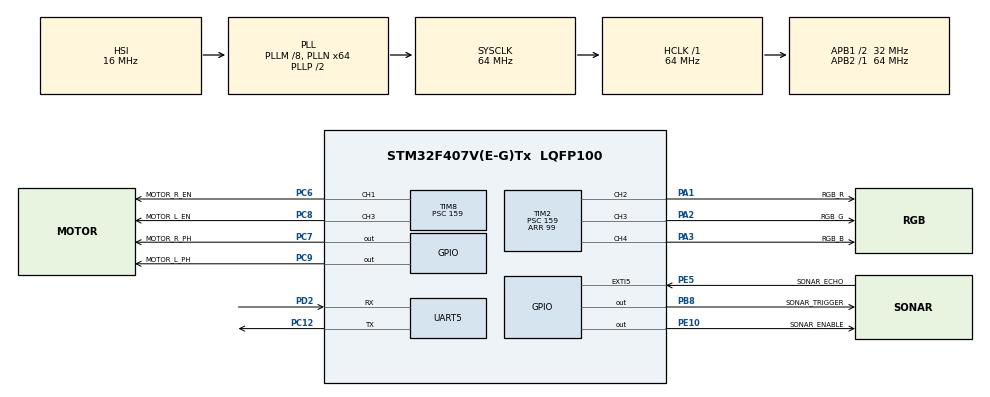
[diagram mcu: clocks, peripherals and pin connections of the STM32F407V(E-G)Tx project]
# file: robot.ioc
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ADC1.Channel-0\#ChannelRegularConversion=ADC_CHANNEL_TEMPSENSOR
ADC1.ClockPrescaler=ADC_CLOCK_SYNC_PCLK_DIV4
ADC1.NbrOfConversionFlag=1
ADC1.Rank-0\#ChannelRegularConversion=1
ADC1.SamplingTime-0\#ChannelRegularConversion=ADC_SAMPLETIME_144CYCLES
ADC1.master=1
Mcu.Family=STM32F4
Mcu.Name=STM32F407V(E-G)Tx
Mcu.Package=LQFP100
NVIC.EXTI9_5_IRQn=true\:0\:0\:false\:false\:true\:true\:true\:true
NVIC.PriorityGroup=NVIC_PRIORITYGROUP_4
NVIC.TIM2_IRQn=true\:1\:0\:true\:false\:true\:true\:true\:true
NVIC.TIM7_IRQn=true\:10\:0\:true\:false\:true\:true\:true\:true
PA1.GPIO_Label=RGB_R
PA1.Signal=S_TIM2_CH2
PA2.GPIO_Label=RGB_G
PA2.Signal=S_TIM2_CH3
PA3.GPIO_Label=RGB_B
PA3.Signal=S_TIM2_CH4
PB8.GPIO_Label=SONAR_TRIGGER
PB8.Signal=GPIO_Output
PC12.Mode=Asynchronous
PC12.Signal=UART5_TX
PC6.GPIO_Label=MOTOR_R_EN
PC6.Signal=S_TIM8_CH1
PC7.GPIO_Label=MOTOR_R_PH
PC7.Signal=GPIO_Output
PC8.GPIO_Label=MOTOR_L_EN
PC8.Signal=S_TIM8_CH3
PC9.GPIO_Label=MOTOR_L_PH
PC9.Signal=GPIO_Output
PD2.Mode=Asynchronous
PD2.Signal=UART5_RX
PE10.GPIO_Label=SONAR_ENABLE
PE10.Signal=GPIO_Output
PE5.GPIO_Label=SONAR_ECHO
PE5.GPIO_ModeDefaultEXTI=GPIO_MODE_IT_RISING_FALLING
PE5.Signal=GPXTI5
ProjectManager.HeapSize=0x200
ProjectManager.StackSize=0x400
ProjectManager.TargetToolchain=STM32CubeIDE
RCC.48MHZClocksFreq_Value=32000000
RCC.AHBFreq_Value=64000000
RCC.APB1CLKDivider=RCC_HCLK_DIV2
RCC.APB1Freq_Value=32000000
RCC.APB1TimFreq_Value=64000000
RCC.APB2Freq_Value=64000000
RCC.APB2TimFreq_Value=64000000
RCC.CortexFreq_Value=64000000
RCC.HCLKFreq_Value=64000000
RCC.HSE_VALUE=25000000
RCC.HSI_VALUE=16000000
RCC.LSE_VALUE=32768
RCC.PLLM=8
RCC.PLLN=64
RCC.SYSCLKFreq_VALUE=64000000
RCC.SYSCLKSource=RCC_SYSCLKSOURCE_PLLCLK
RCC.VCOOutputFreq_Value=128000000
SH.S_TIM2_CH2.0=TIM2_CH2,PWM Generation2 CH2
SH.S_TIM2_CH3.0=TIM2_CH3,PWM Generation3 CH3
SH.S_TIM2_CH4.0=TIM2_CH4,PWM Generation4 CH4
SH.S_TIM8_CH1.0=TIM8_CH1,PWM Generation1 CH1
SH.S_TIM8_CH3.0=TIM8_CH3,PWM Generation3 CH3
TIM1.Channel-Output\ Compare1\ No\ Output=TIM_CHANNEL_1
TIM1.Prescaler=63
TIM2.Channel-Output\ Compare1\ No\ Output=TIM_CHANNEL_1
TIM2.Channel-PWM\ Generation2\ CH2=TIM_CHANNEL_2
TIM2.Channel-PWM\ Generation3\ CH3=TIM_CHANNEL_3
TIM2.Channel-PWM\ Generation4\ CH4=TIM_CHANNEL_4
TIM2.Period=99
TIM2.Prescaler=159
TIM2.Pulse-Output\ Compare1\ No\ Output=9
TIM5.Channel-Output\ Compare1\ No\ Output=TIM_CHANNEL_1
TIM5.Period=999999
TIM5.Prescaler=63
TIM7.Period=1999
TIM7.Prescaler=141
TIM8.AutoReloadPreload=TIM_AUTORELOAD_PRELOAD_ENABLE
TIM8.Channel-PWM\ Generation1\ CH1=TIM_CHANNEL_1
TIM8.Channel-PWM\ Generation3\ CH3=TIM_CHANNEL_3
TIM8.Period=99
TIM8.Prescaler=159
UART5.VirtualMode=Asynchronous
VP_ADC1_TempSens_Input.Mode=IN-TempSens
VP_TIM1_VS_no_output1.Mode=Output Compare1 No Output
VP_TIM2_VS_ClockSourceINT.Mode=Internal
VP_TIM2_VS_no_output1.Mode=Output Compare1 No Output
VP_TIM5_VS_ClockSourceINT.Mode=Internal
VP_TIM5_VS_no_output1.Mode=Output Compare1 No Output
VP_TIM7_VS_ClockSourceINT.Mode=Enable_Timer
VP_TIM8_VS_ClockSourceINT.Mode=Internal
board=custom

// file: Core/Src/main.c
/* USER CODE BEGIN Header */
/**
 ******************************************************************************
 * @file           : main.c
 * @brief          : Main program body
 ******************************************************************************
 * @attention
 *
 * Copyright (c) 2024 STMicroelectronics.
 * All rights reserved.
 *
 * This software is licensed under terms that can be found in the LICENSE file
 * in the root directory of this software component.
 * If no LICENSE file comes with this software, it is provided AS-IS.
 *
 ******************************************************************************
 */
/* USER CODE END Header */
#include "main.h"
#include "adc.h"
#include "tim.h"
#include "usart.h"
#include "gpio.h"

/* USER CODE BEGIN Includes */
#include "robot.h"
/* USER CODE END Includes */

void SystemClock_Config(void);
/* USER CODE BEGIN PFP */

bool timeToUpdateStates = true;

void HAL_TIM_PeriodElapsedCallback(TIM_HandleTypeDef *htim)
{
	if (htim == mRobot.IRQ_timer)
	{
		timeToUpdateStates = true;
	}
}

void HAL_GPIO_EXTI_Callback(uint16_t GPIO_Pin)
{
	if (GPIO_Pin == mRobot.mSonar->echoPin) {
		if(HAL_GPIO_ReadPin(mRobot.mSonar->echoPort, mRobot.mSonar->echoPin) == GPIO_PIN_SET && mRobot.mSonar->isMeasureReady == 0){
			mRobot.mSonar->prevTime_us = 0;
			mRobot.timeBaseTimer_1us->Instance->CNT = 0;
		}
		else{
			mRobot.mSonar->currentResult_us = mRobot.timeBaseTimer_1us->Instance->CNT - mRobot.mSonar->prevTime_us;
			mRobot.mSonar->distance_m = (((float)mRobot.mSonar->currentResult_us/1000000.0) * 340.0)/2.0;
			mRobot.mSonar->isMeasureReady = 1;
		}
	}
}
/* USER CODE END PFP */

int main(void)
{

  /* MCU Configuration--------------------------------------------------------*/

  /* Reset of all peripherals, Initializes the Flash interface and the Systick. */
  HAL_Init();

  /* Configure the system clock */
  SystemClock_Config();

  /* Initialize all configured peripherals */
  MX_GPIO_Init();
  MX_TIM8_Init();
  MX_TIM2_Init();
  MX_TIM7_Init();
  MX_UART5_Init();
  MX_TIM1_Init();
  MX_TIM5_Init();
  MX_ADC1_Init();
  /* USER CODE BEGIN 2 */

	robotWheel rw, lw;
	RGB_led led;
	sonar son;
	temperatureSensor ts;
	mRobot.leftWheel = &lw;
	mRobot.rightWheel = &rw;
	mRobot.mLED = &led;
	mRobot.mSonar = &son;
	mRobot.mtempSens = &ts;

	__robot_init(&htim1,
			&htim2,
			&htim5,
			&htim7,
			&htim8,
			&huart5,
			&hadc1);

	uint32_t motorTime, ledTime, sonarTime, currTime, tempSensTime;
	motorTime = ledTime = currTime = sonarTime = tempSensTime = HAL_GetTick();

	uint8_t motorState = 0, ledState = 0;
	__robot_Move(BACWARD, 99, 99);

  /* USER CODE END 2 */

  /* Infinite loop */
  /* USER CODE BEGIN WHILE */
	while (1)
	{

		currTime = HAL_GetTick();

		if(timeToUpdateStates){
			timeToUpdateStates = false;
			__robot_update_led_light();
			__measureTemperature();
			__robot_update_wheel_speed(mRobot.leftWheel);
			__robot_update_wheel_speed(mRobot.rightWheel);
		}

//		if(currTime - motorTime >= 3000 && motorState == 0){
//			__robot_Move(FORWARD, -99, -99);
//			motorState = 1;
//			motorTime = currTime;
//		}
//
//		if(currTime - motorTime >= 3000 && motorState == 1){
//			__robot_Move(BACWARD, 99, 99);
//			motorState = 0;
//			motorTime = currTime;
//		}

//		if(currTime - ledTime >= 2000 && ledState == 0){
//			__robot_set_led_light(99,0,0);
//			ledState = 1;
//			ledTime = currTime;
//		}
//
//		if(currTime - ledTime >= 2000 && ledState == 1){
//			__robot_set_led_light(0,99,0);
//			ledState = 2;
//			ledTime = currTime;
//		}
//
//		if(currTime - ledTime >= 2000 && ledState == 2){
//			__robot_set_led_light(0,0,99);
//			ledState = 0;
//			ledTime = currTime;
//		}

		if(currTime - sonarTime >= 100){
			sonarTime = currTime;
			__startDistanceMeasure();
		}

		if(mRobot.mSonar->isMeasureReady == 1){
			mRobot.mSonar->isMeasureReady = 0;
			printf("Current distance value: %f m\n", mRobot.mSonar->distance_m);

			if(mRobot.mSonar->distance_m < 0.3){//go left if an obstacle is detected
				__robot_Move(FORWARD, 0, 99);
			}
			else{//if not go ahead
				__robot_Move(FORWARD, 99, 99);
			}
		}
    /* USER CODE END WHILE */

	}
}

void SystemClock_Config(void)
{
  RCC_OscInitTypeDef RCC_OscInitStruct = {0};
  RCC_ClkInitTypeDef RCC_ClkInitStruct = {0};

  /** Configure the main internal regulator output voltage
  */
  __HAL_RCC_PWR_CLK_ENABLE();
  __HAL_PWR_VOLTAGESCALING_CONFIG(PWR_REGULATOR_VOLTAGE_SCALE1);

  /** Initializes the RCC Oscillators according to the specified parameters
  * in the RCC_OscInitTypeDef structure.
  */
  RCC_OscInitStruct.OscillatorType = RCC_OSCILLATORTYPE_HSI;
  RCC_OscInitStruct.HSIState = RCC_HSI_ON;
  RCC_OscInitStruct.HSICalibrationValue = RCC_HSICALIBRATION_DEFAULT;
  RCC_OscInitStruct.PLL.PLLState = RCC_PLL_ON;
  RCC_OscInitStruct.PLL.PLLSource = RCC_PLLSOURCE_HSI;
  RCC_OscInitStruct.PLL.PLLM = 8;
  RCC_OscInitStruct.PLL.PLLN = 64;
  RCC_OscInitStruct.PLL.PLLP = RCC_PLLP_DIV2;
  RCC_OscInitStruct.PLL.PLLQ = 4;
  if (HAL_RCC_OscConfig(&RCC_OscInitStruct) != HAL_OK)
  {
    Error_Handler();
  }

  /** Initializes the CPU, AHB and APB buses clocks
  */
  RCC_ClkInitStruct.ClockType = RCC_CLOCKTYPE_HCLK|RCC_CLOCKTYPE_SYSCLK
                              |RCC_CLOCKTYPE_PCLK1|RCC_CLOCKTYPE_PCLK2;
  RCC_ClkInitStruct.SYSCLKSource = RCC_SYSCLKSOURCE_PLLCLK;
  RCC_ClkInitStruct.AHBCLKDivider = RCC_SYSCLK_DIV1;
  RCC_ClkInitStruct.APB1CLKDivider = RCC_HCLK_DIV2;
  RCC_ClkInitStruct.APB2CLKDivider = RCC_HCLK_DIV1;

  if (HAL_RCC_ClockConfig(&RCC_ClkInitStruct, FLASH_LATENCY_2) != HAL_OK)
  {
    Error_Handler();
  }
}

void Error_Handler(void)
{
	__disable_irq();
	while (1)
	{
	}
}
